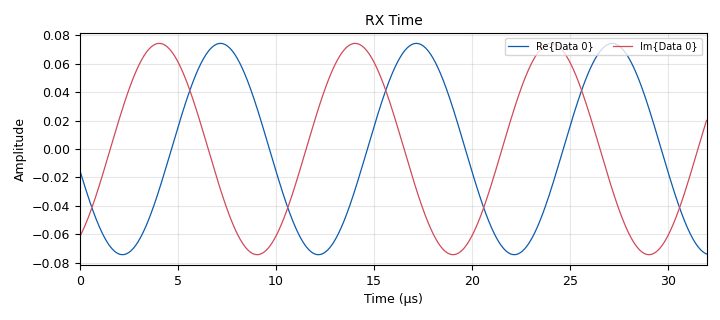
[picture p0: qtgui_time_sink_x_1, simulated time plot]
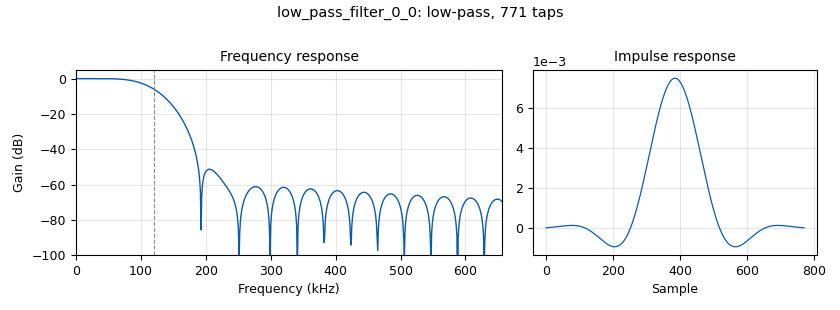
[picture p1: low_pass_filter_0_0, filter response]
<?xml version='1.0' encoding='utf-8'?>
<?grc format='1' created='3.7.11'?>
<flow_graph>
<block>
<key>options</key>
<param><key>id</key><value>top_block_ideal</value></param>
<param><key>generate_options</key><value>qt_gui</value></param>
</block>
<block>
<key>variable</key>
<param><key>id</key><value>center_freq</value></param>
<param><key>value</key><value>0</value></param>
</block>
<block>
<key>variable</key>
<param><key>id</key><value>delay_start</value></param>
<param><key>value</key><value>100</value></param>
</block>
<block>
<key>variable</key>
<param><key>id</key><value>low_pass_gain</value></param>
<param><key>value</key><value>1</value></param>
</block>
<block>
<key>variable</key>
<param><key>id</key><value>samp_rate</value></param>
<param><key>value</key><value>32e6</value></param>
</block>
<block>
<key>variable</key>
<param><key>id</key><value>signal_freq</value></param>
<param><key>value</key><value>1e5</value></param>
</block>
<block>
<key>analog_sig_source_x</key>
<param><key>id</key><value>analog_sig_source_x_1</value></param>
<param><key>amp</key><value>1e-1</value></param>
<param><key>freq</key><value>signal_freq</value></param>
<param><key>offset</key><value>0</value></param>
<param><key>type</key><value>complex</value></param>
<param><key>samp_rate</key><value>samp_rate</value></param>
<param><key>waveform</key><value>analog.GR_COS_WAVE</value></param>
</block>
<block>
<key>blocks_complex_to_real</key>
<param><key>id</key><value>blocks_complex_to_real_0</value></param>
</block>
<block>
<key>blocks_complex_to_real</key>
<param><key>id</key><value>blocks_complex_to_real_0_0</value></param>
</block>
<block>
<key>blocks_delay</key>
<param><key>id</key><value>blocks_delay_0</value></param>
<param><key>delay</key><value>delay_start</value></param>
<param><key>type</key><value>complex</value></param>
</block>
<block>
<key>blocks_float_to_complex</key>
<param><key>id</key><value>blocks_float_to_complex_0</value></param>
</block>
<block>
<key>blocks_throttle</key>
<param><key>id</key><value>blocks_throttle_1</value></param>
<param><key>samples_per_second</key><value>samp_rate</value></param>
<param><key>type</key><value>complex</value></param>
</block>
<block>
<key>diffApp_idealdt</key>
<param><key>id</key><value>diffApp_idealdt_0</value></param>
</block>
<block>
<key>low_pass_filter</key>
<param><key>id</key><value>low_pass_filter_0_0</value></param>
<param><key>cutoff_freq</key><value>1.2*signal_freq</value></param>
<param><key>decim</key><value>1</value></param>
<param><key>type</key><value>fir_filter_ccf</value></param>
<param><key>gain</key><value>low_pass_gain</value></param>
<param><key>samp_rate</key><value>samp_rate</value></param>
<param><key>width</key><value>1e5</value></param>
<param><key>win</key><value>firdes.WIN_HAMMING</value></param>
</block>
<block>
<key>qtgui_number_sink</key>
<param><key>id</key><value>qtgui_number_sink_0</value></param>
<param><key>autoscale</key><value>True</value></param>
<param><key>graph_type</key><value>qtgui.NUM_GRAPH_HORIZ</value></param>
<param><key>type</key><value>float</value></param>
<param><key>name</key><value>"timediff"</value></param>
</block>
<block>
<key>qtgui_number_sink</key>
<param><key>id</key><value>qtgui_number_sink_1</value></param>
<param><key>autoscale</key><value>True</value></param>
<param><key>graph_type</key><value>qtgui.NUM_GRAPH_HORIZ</value></param>
<param><key>type</key><value>float</value></param>
<param><key>name</key><value>"flag"</value></param>
</block>
<block>
<key>qtgui_time_sink_x</key>
<param><key>id</key><value>qtgui_time_sink_x_1</value></param>
<param><key>autoscale</key><value>True</value></param>
<param><key>color1</key><value>"blue"</value></param>
<param><key>label1</key><value></value></param>
<param><key>color2</key><value>"red"</value></param>
<param><key>label2</key><value></value></param>
<param><key>name</key><value>"RX Time"</value></param>
<param><key>size</key><value>1024</value></param>
<param><key>srate</key><value>samp_rate</value></param>
<param><key>type</key><value>complex</value></param>
</block>
<connection><source_block_id>analog_sig_source_x_1</source_block_id><sink_block_id>blocks_throttle_1</sink_block_id><source_key>0</source_key><sink_key>0</sink_key></connection>
<connection><source_block_id>blocks_complex_to_real_0</source_block_id><sink_block_id>blocks_float_to_complex_0</sink_block_id><source_key>0</source_key><sink_key>0</sink_key></connection>
<connection><source_block_id>blocks_complex_to_real_0</source_block_id><sink_block_id>diffApp_idealdt_0</sink_block_id><source_key>0</source_key><sink_key>0</sink_key></connection>
<connection><source_block_id>blocks_complex_to_real_0_0</source_block_id><sink_block_id>blocks_float_to_complex_0</sink_block_id><source_key>0</source_key><sink_key>1</sink_key></connection>
<connection><source_block_id>blocks_complex_to_real_0_0</source_block_id><sink_block_id>diffApp_idealdt_0</sink_block_id><source_key>0</source_key><sink_key>1</sink_key></connection>
<connection><source_block_id>blocks_delay_0</source_block_id><sink_block_id>blocks_complex_to_real_0</sink_block_id><source_key>0</source_key><sink_key>0</sink_key></connection>
<connection><source_block_id>blocks_float_to_complex_0</source_block_id><sink_block_id>qtgui_time_sink_x_1</sink_block_id><source_key>0</source_key><sink_key>0</sink_key></connection>
<connection><source_block_id>blocks_throttle_1</source_block_id><sink_block_id>low_pass_filter_0_0</sink_block_id><source_key>0</source_key><sink_key>0</sink_key></connection>
<connection><source_block_id>diffApp_idealdt_0</source_block_id><sink_block_id>qtgui_number_sink_1</sink_block_id><source_key>1</source_key><sink_key>0</sink_key></connection>
<connection><source_block_id>diffApp_idealdt_0</source_block_id><sink_block_id>qtgui_number_sink_0</sink_block_id><source_key>0</source_key><sink_key>0</sink_key></connection>
<connection><source_block_id>low_pass_filter_0_0</source_block_id><sink_block_id>blocks_complex_to_real_0_0</sink_block_id><source_key>0</source_key><sink_key>0</sink_key></connection>
<connection><source_block_id>low_pass_filter_0_0</source_block_id><sink_block_id>blocks_delay_0</sink_block_id><source_key>0</source_key><sink_key>0</sink_key></connection>
</flow_graph>
